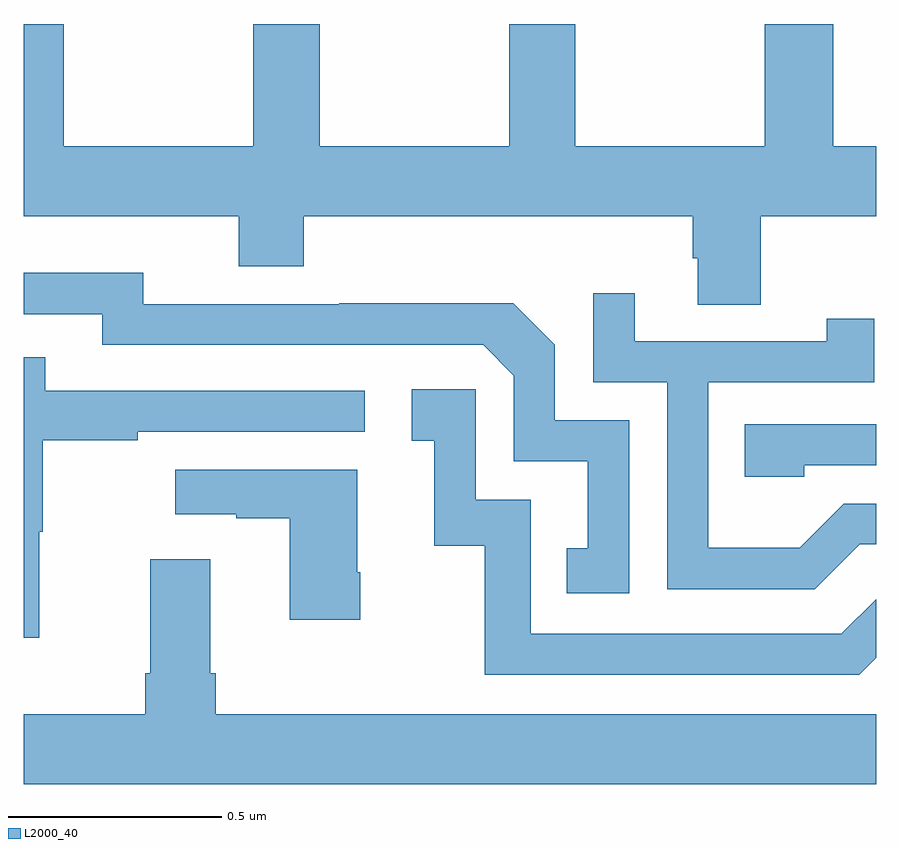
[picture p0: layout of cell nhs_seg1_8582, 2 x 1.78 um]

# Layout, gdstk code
import gdstk
lib = gdstk.Library(unit=1e-6, precision=1e-09)
def P(c, l, *ps):  # polygons
    for p in ps: c.add(gdstk.Polygon(p, *l))
L2000_40 = (2000, 40)

nhs_seg1_8582 = lib.new_cell('nhs_seg1_8582')
P(nhs_seg1_8582, L2000_40, [(219.294,536.199),(219.139,536.199),(219.139,535.912),(218.694,535.912),(218.694,536.199),(218.539,536.199),(218.539,535.912),(218.094,535.912),(218.094,536.199),(218,536.199),(218,535.748),(218.504,535.748),(218.504,535.631),(218.657,535.631),(218.657,535.748),(219.569,535.748),(219.569,535.65),(219.581,535.65),(219.581,535.54),(219.729,535.54),(219.729,535.748),(220,535.748),(220,535.912),(219.899,535.912),(219.899,536.199),(219.739,536.199),(219.739,535.912),(219.294,535.912)],
  [(219.42,535.269),(219.246,535.269),(219.246,535.446),(219.148,535.544),(218.74,535.544),(218.74,535.542),(218.28,535.542),(218.28,535.615),(218,535.615),(218,535.518),(218.184,535.518),(218.184,535.446),(219.078,535.446),(219.15,535.374),(219.15,535.173),(219.323,535.173),(219.323,534.969),(219.274,534.969),(219.274,534.864),(219.42,534.864)],
  [(219.961,534.978),(220,534.978),(220,535.074),(219.924,535.074),(219.82,534.97),(219.606,534.97),(219.606,535.359),(219.995,535.359),(219.995,535.507),(219.884,535.507),(219.884,535.455),(219.433,535.455),(219.433,535.567),(219.336,535.567),(219.336,535.359),(219.51,535.359),(219.51,534.873),(219.856,534.873)],
  [(218.036,535.008),(218.044,535.008),(218.044,535.222),(218.267,535.222),(218.267,535.242),(218.8,535.242),(218.8,535.338),(218.051,535.338),(218.051,535.417),(218,535.417),(218,534.759),(218.036,534.759)],
  [(220,534.712),(220,534.85),(219.918,534.768),(219.189,534.768),(219.189,535.083),(219.06,535.083),(219.06,535.342),(218.91,535.342),(218.91,535.221),(218.963,535.221),(218.963,534.975),(219.081,534.975),(219.081,534.672),(219.96,534.672)],
  [(219.831,535.164),(220,535.164),(220,535.26),(219.691,535.26),(219.691,535.137),(219.831,535.137)],
  [(218.79,534.913),(218.782,534.913),(218.782,535.153),(218.355,535.153),(218.355,535.049),(218.498,535.049),(218.498,535.039),(218.624,535.039),(218.624,534.801),(218.79,534.801)],
  [(220,534.58),(218.45,534.58),(218.45,534.676),(218.437,534.676),(218.437,534.943),(218.297,534.943),(218.297,534.676),(218.285,534.676),(218.285,534.58),(218,534.58),(218,534.416),(220,534.416)])

lib.write_gds('nhs_seg1_8582.gds')
